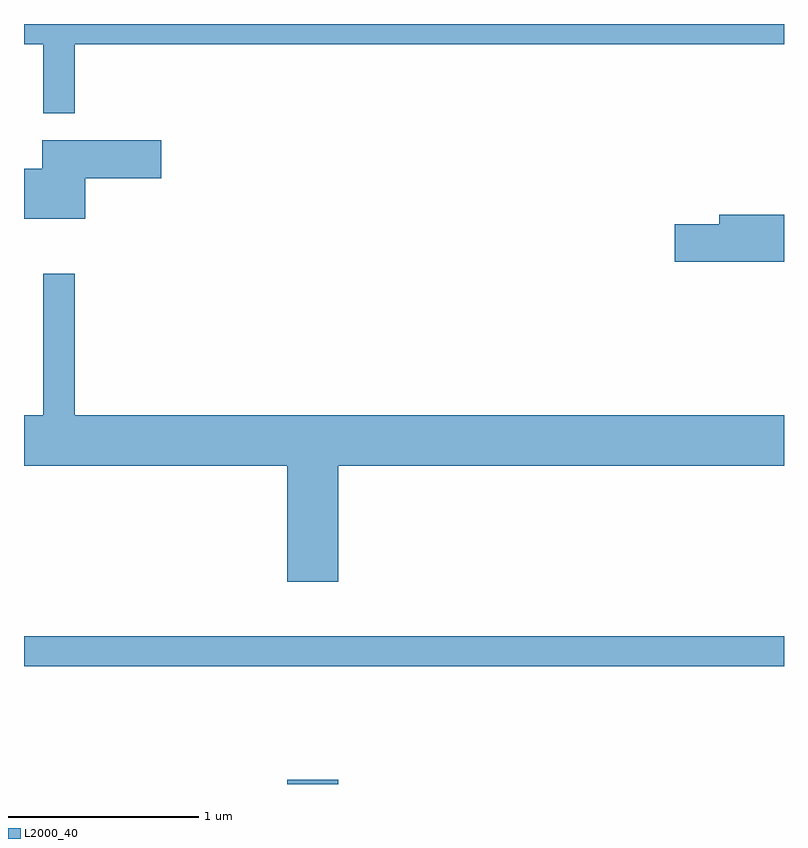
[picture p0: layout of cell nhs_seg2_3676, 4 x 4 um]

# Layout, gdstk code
import gdstk
lib = gdstk.Library(unit=1e-6, precision=1e-09)
def R(c, l, rs):  # rectangles x0, y0, x1, y1
    for r in rs: c.add(gdstk.rectangle(r[:2], r[2:], *l))
def P(c, l, *ps):  # polygons
    for p in ps: c.add(gdstk.Polygon(p, *l))
L2000_40 = (2000, 40)

nhs_seg2_3676 = lib.new_cell('nhs_seg2_3676')
R(nhs_seg2_3676, L2000_40, [(294.996,997.802,295.264,997.824), (293.611,998.421,297.611,998.579)])
P(nhs_seg2_3676, L2000_40, [(293.879,1001.696),(297.611,1001.696),(297.611,1001.802),(293.611,1001.802),(293.611,1001.696),(293.711,1001.696),(293.711,1001.333),(293.879,1001.333)],
  [(293.934,1000.991),(294.334,1000.991),(294.334,1001.189),(293.706,1001.189),(293.706,1001.039),(293.611,1001.039),(293.611,1000.776),(293.934,1000.776)],
  [(297.611,1000.799),(297.271,1000.799),(297.271,1000.749),(297.036,1000.749),(297.036,1000.551),(297.611,1000.551)],
  [(295.264,999.476),(297.611,999.476),(297.611,999.744),(293.879,999.744),(293.879,1000.488),(293.711,1000.488),(293.711,999.744),(293.611,999.744),(293.611,999.476),(294.996,999.476),(294.996,998.866),(295.264,998.866)])

lib.write_gds('nhs_seg2_3676.gds')
